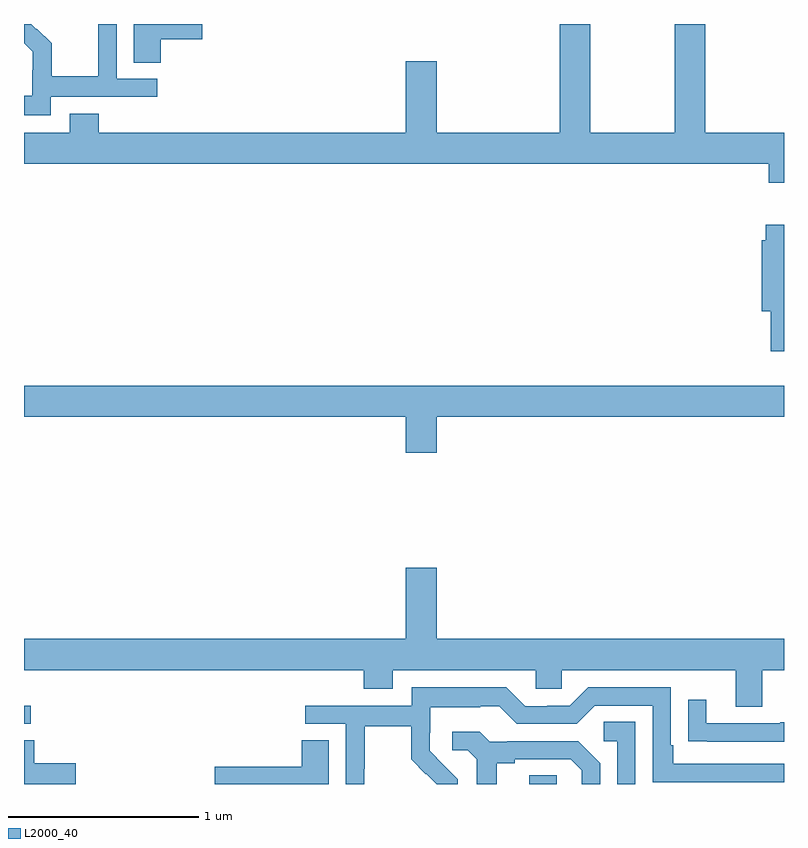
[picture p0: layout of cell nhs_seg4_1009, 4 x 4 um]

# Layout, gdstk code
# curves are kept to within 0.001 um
import gdstk
lib = gdstk.Library(unit=1e-6, precision=1e-09)
def R(c, l, rs):  # rectangles x0, y0, x1, y1
    for r in rs: c.add(gdstk.rectangle(r[:2], r[2:], *l))
def P(c, l, *ps):  # polygons
    for p in ps: c.add(gdstk.Polygon(p, *l))
L2000_40 = (2000, 40)

nhs_seg4_1009 = lib.new_cell('nhs_seg4_1009')
R(nhs_seg4_1009, L2000_40, [(165.659,782.9,165.804,782.945), (163,783.216,163.036,783.312)])
P(nhs_seg4_1009, L2000_40, [(167,786.328),(166.586,786.328),(166.586,786.9),(166.426,786.9),(166.426,786.328),(165.981,786.328),(165.981,786.9),(165.821,786.9),(165.821,786.328),(165.172,786.328),(165.172,786.703),(165.008,786.703),(165.008,786.328),(163.394,786.328),(163.394,786.427),(163.241,786.427),(163.241,786.328),(163,786.328),(163,786.164),(166.919,786.164),(166.919,786.065),(167,786.065)],
  [(163.14,786.516),(163.702,786.516),(163.702,786.612),(163.488,786.612),(163.488,786.9),(163.392,786.9),(163.392,786.848),(163.39,786.848),(163.39,786.625),(163.145,786.625),(163.145,786.799),(163.068,786.876),(163.065,786.873),(163.038,786.9),(163,786.9),(163,786.8),(163.046,786.754),(163.046,786.657),(163.044,786.657),(163.044,786.523),(163,786.523),(163,786.419),(163.14,786.419)],
  [(163.721,786.821),(163.939,786.821),(163.939,786.9),(163.577,786.9),(163.577,786.697),(163.721,786.697)],
  [(167,785.844),(166.904,785.844),(166.904,785.763),(166.883,785.763),(166.883,785.387),(166.93,785.387),(166.93,785.178),(167,785.178)],
  [(165.172,784.832),(167,784.832),(167,784.996),(163,784.996),(163,784.832),(165.008,784.832),(165.008,784.644),(165.172,784.644)],
  [(166.885,783.5),(167,783.5),(167,783.664),(165.172,783.664),(165.172,784.039),(165.008,784.039),(165.008,783.664),(163,783.664),(163,783.5),(164.789,783.5),(164.789,783.401),(164.941,783.401),(164.941,783.5),(165.693,783.5),(165.693,783.402),(165.831,783.402),(165.831,783.5),(166.745,783.5),(166.745,783.306),(166.885,783.306)],
  [(164.79,782.98),(164.793,782.98),(164.793,783.204),(165.037,783.204),(165.037,783.029),(165.114,782.952),(165.117,782.955),(165.173,782.9),(165.282,782.9),(165.282,782.926),(165.136,783.074),(165.136,783.171),(165.138,783.171),(165.138,783.305),(165.401,783.305),(165.401,783.309),(165.501,783.309),(165.594,783.216),(165.909,783.216),(166.005,783.312),(166.308,783.312),(166.308,782.91),(167,782.91),(167,783.006),(166.417,783.006),(166.417,783.103),(166.404,783.103),(166.404,783.408),(165.969,783.408),(165.873,783.312),(165.755,783.312),(165.755,783.309),(165.639,783.309),(165.539,783.409),(165.042,783.409),(165.042,783.312),(164.481,783.312),(164.481,783.216),(164.694,783.216),(164.694,782.9),(164.79,782.9)],
  [(167,783.224),(166.981,783.224),(166.981,783.219),(166.591,783.219),(166.591,783.343),(166.495,783.343),(166.495,783.124),(166.597,783.124),(166.597,783.123),(167,783.123)],
  [(166.218,783.227),(166.05,783.227),(166.05,783.126),(166.122,783.126),(166.122,782.9),(166.218,782.9)],
  [(165.487,783.008),(165.583,783.008),(165.583,783.03),(165.878,783.03),(165.935,782.973),(165.935,782.9),(166.032,782.9),(166.032,783.01),(165.916,783.126),(165.544,783.126),(165.544,783.123),(165.45,783.123),(165.398,783.175),(165.255,783.175),(165.255,783.078),(165.336,783.078),(165.383,783.031),(165.383,782.9),(165.487,782.9)],
  [(164.605,783.131),(164.462,783.131),(164.462,782.99),(164.004,782.99),(164.004,782.9),(164.605,782.9)],
  [(163.273,783.008),(163.055,783.008),(163.055,783.131),(163,783.131),(163,782.9),(163.273,782.9)])

lib.write_gds('nhs_seg4_1009.gds')
